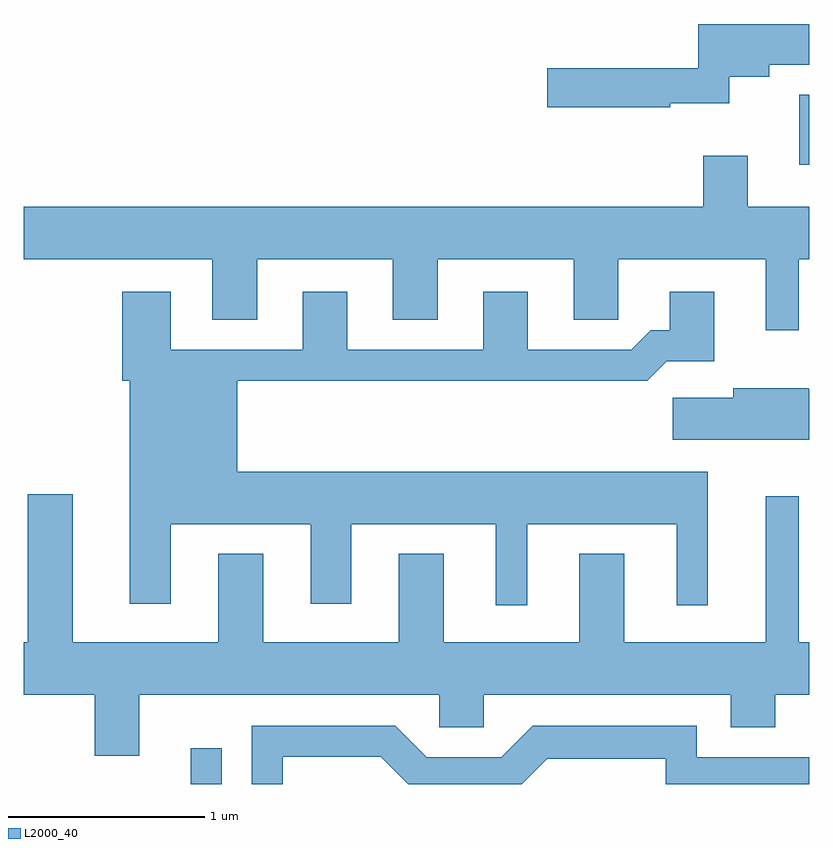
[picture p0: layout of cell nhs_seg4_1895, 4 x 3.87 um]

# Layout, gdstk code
import gdstk
lib = gdstk.Library(unit=1e-6, precision=1e-09)
def R(c, l, rs):  # rectangles x0, y0, x1, y1
    for r in rs: c.add(gdstk.rectangle(r[:2], r[2:], *l))
def P(c, l, *ps):  # polygons
    for p in ps: c.add(gdstk.Polygon(p, *l))
L2000_40 = (2000, 40)

nhs_seg4_1895 = lib.new_cell('nhs_seg4_1895')
R(nhs_seg4_1895, L2000_40, [(240.461,1371.982,240.619,1372.163), (243.561,1375.136,243.611,1375.494)])
P(nhs_seg4_1895, L2000_40, [(242.904,1375.451),(243.204,1375.451),(243.204,1375.586),(243.409,1375.586),(243.409,1375.646),(243.611,1375.646),(243.611,1375.854),(243.046,1375.854),(243.046,1375.629),(242.276,1375.629),(242.276,1375.431),(242.904,1375.431)],
  [(243.559,1374.656),(243.611,1374.656),(243.611,1374.924),(243.299,1374.924),(243.299,1375.184),(243.071,1375.184),(243.071,1374.924),(239.611,1374.924),(239.611,1374.656),(240.571,1374.656),(240.571,1374.346),(240.799,1374.346),(240.799,1374.656),(241.491,1374.656),(241.491,1374.346),(241.719,1374.346),(241.719,1374.656),(242.411,1374.656),(242.411,1374.346),(242.639,1374.346),(242.639,1374.656),(243.391,1374.656),(243.391,1374.293),(243.559,1374.293)],
  [(242.174,1373.306),(242.936,1373.306),(242.936,1372.893),(243.094,1372.893),(243.094,1373.574),(240.699,1373.574),(240.699,1374.036),(242.787,1374.036),(242.887,1374.136),(243.129,1374.136),(243.129,1374.489),(242.901,1374.489),(242.901,1374.294),(242.804,1374.294),(242.704,1374.194),(242.179,1374.194),(242.179,1374.489),(241.951,1374.489),(241.951,1374.194),(241.259,1374.194),(241.259,1374.489),(241.031,1374.489),(241.031,1374.194),(240.359,1374.194),(240.359,1374.489),(240.111,1374.489),(240.111,1374.036),(240.151,1374.036),(240.151,1372.901),(240.359,1372.901),(240.359,1373.306),(241.071,1373.306),(241.071,1372.901),(241.279,1372.901),(241.279,1373.306),(242.016,1373.306),(242.016,1372.893),(242.174,1372.893)],
  [(243.611,1373.994),(243.61,1373.994),(243.61,1373.999),(243.226,1373.999),(243.226,1373.949),(242.916,1373.949),(242.916,1373.736),(243.611,1373.736)],
  [(239.859,1373.459),(239.631,1373.459),(239.631,1372.704),(239.611,1372.704),(239.611,1372.436),(239.971,1372.436),(239.971,1372.126),(240.199,1372.126),(240.199,1372.436),(241.726,1372.436),(241.726,1372.271),(241.954,1372.271),(241.954,1372.436),(243.211,1372.436),(243.211,1372.271),(243.439,1372.271),(243.439,1372.436),(243.611,1372.436),(243.611,1372.704),(243.559,1372.704),(243.559,1373.448),(243.391,1373.448),(243.391,1372.704),(242.669,1372.704),(242.669,1373.154),(242.441,1373.154),(242.441,1372.704),(241.749,1372.704),(241.749,1373.154),(241.521,1373.154),(241.521,1372.704),(240.829,1372.704),(240.829,1373.154),(240.601,1373.154),(240.601,1372.704),(239.859,1372.704)],
  [(240.929,1372.121),(241.429,1372.121),(241.568,1371.982),(242.148,1371.982),(242.277,1372.111),(242.881,1372.111),(242.881,1371.982),(243.611,1371.982),(243.611,1372.119),(243.039,1372.119),(243.039,1372.279),(242.204,1372.279),(242.044,1372.119),(241.662,1372.119),(241.502,1372.279),(240.771,1372.279),(240.771,1371.982),(240.929,1371.982)])

lib.write_gds('nhs_seg4_1895.gds')
